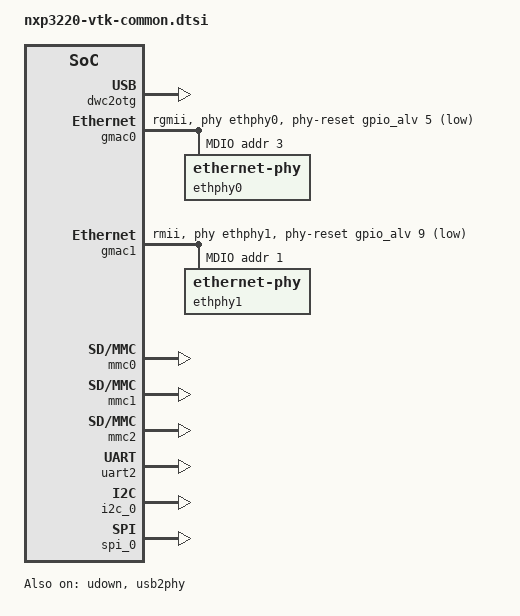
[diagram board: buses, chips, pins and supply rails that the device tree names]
/*
 * (C) Copyright 2018 Nexell
 * JungHyun, Kim <jhkim@nexell.co.kr>
 *
 * SPDX-License-Identifier:      GPL-2.0+
 */

#include "nxp3220.dtsi"
#include <dt-bindings/gpio/gpio.h>
/ {
	compatible = "nexell,nxp3220";

	aliases {
		serial2 = &uart2;
		i2c0    = &i2c_0;
		spi0	= &spi_0;
	};

	chosen {
		stdout-path = "serial2:115200n8";
		tick-timer = &timer0;
	};

	clock_pll: clock-src@27020000 {
		frequency = <0 1000000000>,
			    <1 400000000>;
	};

	clock_sys: clock-sys@27010000 {
		clk-init-frequency = <UART_2_CORE_CLK 100000000 1>,
				     <UART_2_APB_CLK 100000000 1>,
				     <TIMER_0_APB_CLK 100000000 1>,
				     <TIMER_0_TCLK0_CLK 100000000 1>,
				     <TIMER_0_TCLK1_CLK 100000000 1>,
				     <PWM_0_TCLK0_CLK 100000000 1>,
				     <PWM_0_TCLK1_CLK 100000000 1>,
				     <PWM_0_TCLK2_CLK 100000000 1>,
				     <PWM_0_TCLK3_CLK 100000000 1>,
				     <I2C_0_APB_CLK 100000000 1>,
				     <SPI_0_APB_CLK 100000000 1>,
				     <GMAC_RGMII_0_AXI_CLK 250000000 1>,
				     <GMAC_RGMII_0_APB_CLK 125000000 1>,
				     <GMAC_RGMII_0_TX_CLK_CLK 125000000 1>,
				     <GMAC_RGMII_0_PTP_REF_CLK 25000000 1>,
				     <GMAC_RMII_0_AXI_CLK 250000000 1>,
				     <GMAC_RMII_0_APB_CLK 125000000 1>,
				     <GMAC_RMII_0_PTP_REF_CLK 25000000 1>;
	};
};

&dwc2otg {
	status = "okay";
};

&gmac0 {
	phy-mode = "rgmii";
	phy-handle = <&ethphy0>;
	status = "okay";

	phy-reset-gpios = <&gpio_alv 5 GPIO_ACTIVE_LOW>;

	mdio@3 {
		#address-cells = <1>;
		#size-cells = <0>;

		ethphy0: ethernet-phy@3 {
			reg = <3>;
		};
	};
};

&gmac1 {
	phy-mode = "rmii";
	phy-handle = <&ethphy1>;
	status = "okay";

	phy-reset-gpios = <&gpio_alv 9 GPIO_ACTIVE_LOW>;

	mdio@1 {
		#address-cells = <1>;
		#size-cells = <0>;

		ethphy1: ethernet-phy@1 {
			reg = <1>;
		};
	};
};

&mmc0 {
	nexell,sample_shift = <0x04>;
	nexell,drive_shift = <0x04>;
	frequency = <50000000>;
	status = "okay";
};

&mmc1 {
	nexell,sample_shift = <0x04>;
	nexell,drive_shift = <0x04>;
	frequency = <50000000>;
	status = "okay";
};

&mmc2 {
	nexell,sample_shift = <0x04>;
	nexell,drive_shift = <0x04>;
	frequency = <50000000>;
	status = "okay";
};

&nand {
	nand-ecc-strength = <4>;
	nand-ecc-step-size = <512>;
	nand-timing-mode = <4>;
	nexell,wp-gpio = <&gpio_c 16 GPIO_ACTIVE_HIGH>;
};

&nand_data {
	nexell,pin-strength = <NX_PIN_STR3>;
};

&nand_cs0 {
	nexell,pin-strength = <NX_PIN_STR2>;
};

&nand_cs1 {
	nexell,pin-strength = <NX_PIN_STR2>;
};

&uart2 {
	clock-frequency = <100000000>;
	status = "okay";
};

&udown {
	status = "okay";
};

&i2c_0 {
	status = "okay";
};

&spi_0 {
	num-cs = <1>;
	cs-gpio = <&gpio_c 4 0>;
	status = "okay";
};

&usb2phy {
	status = "okay";
};
